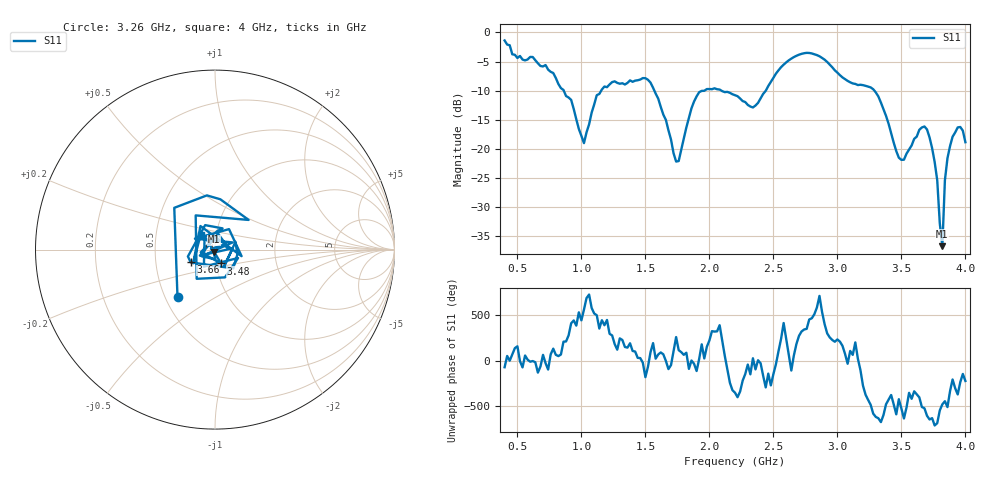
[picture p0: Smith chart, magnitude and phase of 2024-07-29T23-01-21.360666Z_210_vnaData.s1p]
!Created with skrf (http://scikit-rf.org).
# Hz S RI R 50.0
!freq ReS11 ImS11
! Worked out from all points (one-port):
!   181 points, 400 MHz to 4 GHz, reference 50 ohm
!   lowest |S11| = -36.7 dB at 3.82 GHz (marker M1), VSWR 1.03, Z = 49.2 - j1.22 ohm
!   |S11| at or under -10 dB: 1.57 GHz to 1.962 GHz (391.9 MHz wide, 22.2 % of centre); 2.094 GHz to 2.441 GHz (346.9 MHz wide, 15.3 % of centre); 3.289 GHz to end of sweep (the widest 3 of 4)
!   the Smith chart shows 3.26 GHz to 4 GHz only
!   S11 on the Smith chart (normalised r, x): 3.26 GHz: 0.58, -0.35; 3.48 GHz: 1.06, -0.16; 3.66 GHz: 0.75, -0.11; 4 GHz: 0.84, +0.14
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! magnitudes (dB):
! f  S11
! 400 MHz  -1.4
! 860 MHz  -9.9
! 920 MHz  -11.6
! 1.02 GHz  -19.0
! 1.12 GHz  -10.8
! 1.3 GHz  -8.8
! 1.54 GHz  -8.6
! 1.76 GHz  -22.1
! 1.92 GHz  -10.3
! 2.2 GHz  -10.8
! 2.34 GHz  -12.9
! 2.66 GHz  -4.2
! 2.84 GHz  -3.9
! 3.1 GHz  -8.6
! 3.26 GHz  -9.4
! 3.34 GHz  -12.0
! 3.48 GHz  -21.5
! 3.56 GHz  -20.1
! 3.66 GHz  -16.3
! 3.7 GHz  -16.7
! 3.76 GHz  -22.3
! 3.78 GHz  -25.4
! 3.8 GHz  -32.8
! 3.82 GHz  -36.7
! 3.84 GHz  -25.4
! 3.88 GHz  -19.5
! 3.94 GHz  -16.3
! 4 GHz  -18.8
